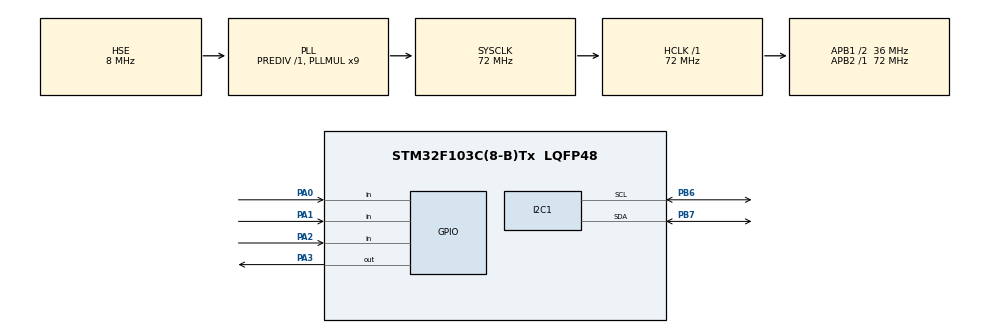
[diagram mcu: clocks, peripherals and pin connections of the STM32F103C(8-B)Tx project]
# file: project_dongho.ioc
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Mcu.Family=STM32F1
Mcu.Name=STM32F103C(8-B)Tx
Mcu.Package=LQFP48
NVIC.PriorityGroup=NVIC_PRIORITYGROUP_4
PA0-WKUP.GPIO_PuPd=GPIO_PULLUP
PA0-WKUP.Signal=GPIO_Input
PA1.GPIO_PuPd=GPIO_PULLUP
PA1.Signal=GPIO_Input
PA13.Mode=Serial_Wire
PA13.Signal=SYS_JTMS-SWDIO
PA14.Mode=Serial_Wire
PA14.Signal=SYS_JTCK-SWCLK
PA2.GPIO_PuPd=GPIO_PULLUP
PA2.Signal=GPIO_Input
PA3.Signal=GPIO_Output
PB6.Mode=I2C
PB6.Signal=I2C1_SCL
PB7.Mode=I2C
PB7.Signal=I2C1_SDA
PD0-OSC_IN.Mode=HSE-External-Oscillator
PD0-OSC_IN.Signal=RCC_OSC_IN
PD1-OSC_OUT.Mode=HSE-External-Oscillator
PD1-OSC_OUT.Signal=RCC_OSC_OUT
ProjectManager.HeapSize=0x200
ProjectManager.StackSize=0x400
ProjectManager.TargetToolchain=STM32CubeIDE
RCC.AHBFreq_Value=72000000
RCC.APB1CLKDivider=RCC_HCLK_DIV2
RCC.APB1Freq_Value=36000000
RCC.APB1TimFreq_Value=72000000
RCC.APB2Freq_Value=72000000
RCC.APB2TimFreq_Value=72000000
RCC.HCLKFreq_Value=72000000
RCC.PLLMUL=RCC_PLL_MUL9
RCC.PLLSourceVirtual=RCC_PLLSOURCE_HSE
RCC.SYSCLKFreq_VALUE=72000000
RCC.SYSCLKSource=RCC_SYSCLKSOURCE_PLLCLK
RCC.USBFreq_Value=72000000
board=custom

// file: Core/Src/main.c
/* USER CODE BEGIN Header */
/**
  ******************************************************************************
  * @file           : main.c
  * @brief          : Main program body
  ******************************************************************************
  * @attention
  *
  * Copyright (c) 2024 STMicroelectronics.
  * All rights reserved.
  *
  * This software is licensed under terms that can be found in the LICENSE file
  * in the root directory of this software component.
  * If no LICENSE file comes with this software, it is provided AS-IS.
  *
  ******************************************************************************
  */
/* USER CODE END Header */
#include "main.h"

/* USER CODE BEGIN Includes */
#include <stdio.h>
#include "RTC.h"
#include "LiquidCrystal_I2C.h"
#include "Btn.h"
/* USER CODE END Includes */

I2C_HandleTypeDef hi2c1;

void SystemClock_Config(void);
static void MX_GPIO_Init(void);
static void MX_I2C1_Init(void);

/* USER CODE BEGIN 0 */
LiquidCrystal_I2C lcd;
RTC_typedef hrtc ;
Button_Typdef btn_up, btn_ok,btn_down;
int8_t hour_alarm;
int8_t min_alarm;

const char arr_day [] [4] = {
		{"SUN"},
		{"MON"},
		{"TUE"},
		{"WED"},
		{"THU"},
		{"FRI"},
		{"SAT"},

};
void clock_time_update()
{
		static uint32_t t_update =0;
		  if(HAL_GetTick() - t_update >= 500)
		  {
		  RTC_ReadTime(&hrtc,&hrtc.datetime);
		  uint8_t day_of_week = RTC_READ_DAY_OF_WEEK(&hrtc.datetime );
		  lcd_set_cursor(&lcd,0,3);
		  lcd_printf(&lcd, "%02d:%02d:%02d",hrtc.datetime.hour,hrtc.datetime.min,hrtc.datetime.sec);
		  lcd_set_cursor(&lcd, 1, 0);
		  lcd_printf(&lcd, "%s %02d/%02d/20%02d",arr_day[day_of_week],hrtc.datetime.date,hrtc.datetime.month,hrtc.datetime.year);
		  t_update = HAL_GetTick();
		  }
}
typedef enum
{
	NORMAL_STATE,
	SETTING_HOUR_STATE,
	SETTING_MIN_STATE,
	SETTING_SEC_STATE,
	SETTING_DATE_STATE,
	SETTING_MONTH_STATE,
	SETTING_YEAR_STATE,
	ALARM_HOUR_STATE,
	ALARM_MIN_STATE

}ClockState;
ClockState clock_state = NORMAL_STATE;
//----------utils----------------
void up_down_number(int8_t *number, int8_t max,int8_t min, int8_t plus)
{
	if(plus)
	{
		(*number)++;
	if( *number > max)
	{
		*number = min;
	}
	}
	else
	{
		(*number)--;
	if(*number < min)
	{
		*number = max;
	}
	}
}

uint8_t check_leap_year(uint16_t year)
{
	if (((year % 4 == 0) && (year % 100!= 0)) || (year%400 == 0))
	{
		return 1;
	}
	    return 0;
}

uint8_t get_max_date(uint8_t month, uint16_t year)
{
	switch(month)
	{
	case 1: case 3 : case 5 : case 7 : case 8 : case 10 : case 12 :
		return 31;
	case 4: case 6 : case 9 : case 11 :
		return 30;
	case 2 :
		if(check_leap_year(year))
		{
			return 29;
		}
	}
	return 28;

}

//----------blink----------------
void setting_blink()
{
	static uint32_t t_blink =0;
	static uint8_t is_show =1;
	char line1[16] ;
	char line2[16] ;
			  if(HAL_GetTick() - t_blink >= 300)
				 {
				  is_show = ! is_show;
					 RTC_ReadTime(&hrtc,&hrtc.datetime);
					 uint8_t day_of_week = RTC_READ_DAY_OF_WEEK(&hrtc.datetime );
 sprintf(line1, "%02d:%02d:%02d",hrtc.datetime.hour,hrtc.datetime.min,hrtc.datetime.sec);
 sprintf(line2, "%s %02d/%02d/20%02d",arr_day[day_of_week],hrtc.datetime.date,hrtc.datetime.month,hrtc.datetime.year);

					 if(is_show)
				  {

					switch(clock_state)
				 {
					 case SETTING_HOUR_STATE:
						line1[0] = line1[1] = ' ';
						 break;
					 case SETTING_MIN_STATE:
						line1[3] = line1[4] = ' ';
						 break;
					 case SETTING_DATE_STATE:
						line2[4] = line2[5] = ' ';
						 break;
					 case SETTING_MONTH_STATE:
						 line2[7] = line2[8] =' ';
						 break;
					 case SETTING_YEAR_STATE:
						 line2[12]= line2[13] = ' ';
						 break;
					 default : break;

				 }

				  }
					  lcd_set_cursor(&lcd,0,3);
					  lcd_printf(&lcd, "%s",line1);
					  lcd_set_cursor(&lcd, 1, 0);
					  lcd_printf(&lcd, "%s ",line2);
					 t_blink = HAL_GetTick();
			  }
}

// ----------ajust_time----------
void ajust_time(uint8_t plus)
{
	switch(clock_state)
				{
				case SETTING_HOUR_STATE:
				{
					up_down_number(&hrtc.datetime.hour,23,0,plus);
					RTC_WriteTime(&hrtc, &hrtc.datetime);
					break;
				}
				case SETTING_MIN_STATE:
				{
					up_down_number(&hrtc.datetime.min,59,0,plus);
					RTC_WriteTime(&hrtc, &hrtc.datetime);
					break;
				}
				case SETTING_DATE_STATE:
				{
					uint8_t max_date = get_max_date(hrtc.datetime.month, hrtc.datetime.year);
					up_down_number(&hrtc.datetime.date,max_date,1,plus);
					RTC_WriteTime(&hrtc, &hrtc.datetime);
					break;
				}
				case SETTING_MONTH_STATE:
				{
					up_down_number(&hrtc.datetime.month,12,1,plus);
					uint8_t max_date = get_max_date(hrtc.datetime.month, hrtc.datetime.year);
					if(hrtc.datetime.date > max_date)
					{
						hrtc.datetime.date = max_date;
					}
					RTC_WriteTime(&hrtc, &hrtc.datetime);
					break;
				}
				case SETTING_YEAR_STATE:
				{
					up_down_number(&hrtc.datetime.year,99,0,plus);
					RTC_WriteTime(&hrtc, &hrtc.datetime);
					break;
				}
				case ALARM_HOUR_STATE:
				{
					up_down_number(&hour_alarm,23,0,plus);
					break;
				}
				case ALARM_MIN_STATE:
				{
					up_down_number(&min_alarm,59,0,plus);
					break;
				}

				default : break;
				}
}

// ---------callback_button---------------------
void btn_pressing_callback(Button_Typdef *ButtonX)
{
	if(ButtonX == &btn_up)
		{
		ajust_time(1);
		}
	else if(ButtonX == &btn_down)
		{
		ajust_time(0);
		}
}
void btn_press_short_callback(Button_Typdef *ButtonX)
{
	if(ButtonX == &btn_ok)
	{
		switch(clock_state)
		{
		case NORMAL_STATE:
			clock_state = SETTING_HOUR_STATE;
			break;
		case SETTING_HOUR_STATE:
			clock_state = SETTING_MIN_STATE;
			break;
		case SETTING_MIN_STATE:
			clock_state = SETTING_DATE_STATE;
			break;
		case SETTING_DATE_STATE:
			clock_state = SETTING_MONTH_STATE;
			break;
		case SETTING_MONTH_STATE:
			clock_state = SETTING_YEAR_STATE;
			break;
		case SETTING_YEAR_STATE:
			clock_state = NORMAL_STATE;
			break;
		case ALARM_HOUR_STATE:
			clock_state = ALARM_MIN_STATE;
			break;
		case ALARM_MIN_STATE:
			clock_state = NORMAL_STATE;
			break;
		default : break;

		}

	}

}
void btn_press_timeout_callback(Button_Typdef *ButtonX) // nhan giu
{
	if(ButtonX == &btn_ok)
		{
			clock_state = ALARM_HOUR_STATE;
			lcd_clear_display(&lcd);
			lcd_set_cursor(&lcd,0,5);
			lcd_printf(&lcd, "ALARM");
		}
}

//------------alarm------------
void check_alarm()
{
	if((hour_alarm == hrtc.datetime.hour) && (min_alarm == hrtc.datetime.min))
	{
				// todo
	}
}

void alarm_screen()
{
	static uint32_t t_blink =0;
	static uint8_t is_show =1;
	char line2[16] ;
	if(HAL_GetTick() - t_blink >= 300)
	 {
		is_show = ! is_show;
	    RTC_ReadTime(&hrtc,&hrtc.datetime);
/*		uint8_t day_of_week = RTC_READ_DAY_OF_WEEK(&hrtc.datetime);*/
   sprintf(line2,"%02d:%02d",hour_alarm,min_alarm);
		if(is_show)
		{
			switch(clock_state)
			{
			case ALARM_HOUR_STATE:
				line2[0] = line2[1] = ' ';
				break;
			case ALARM_MIN_STATE:
				line2[3] = line2[4] = ' ';
				break;
			default : break;
			}
		 }
			lcd_set_cursor(&lcd,0,5);
			lcd_printf(&lcd, "ALARM");
			lcd_set_cursor(&lcd, 1, 5);
			lcd_printf(&lcd, "%s ",line2);
			t_blink = HAL_GetTick();
	 }
}

// ---------------handle_clock------------
void clock_handle()
{
	switch(clock_state)
				{
	case NORMAL_STATE:

		clock_time_update();
		check_alarm();
		 break;
	case SETTING_HOUR_STATE:
	case SETTING_MIN_STATE:
	case SETTING_DATE_STATE:
	case SETTING_MONTH_STATE:
	case SETTING_YEAR_STATE:
		setting_blink();
		break;
	case ALARM_HOUR_STATE:
	case ALARM_MIN_STATE:
		alarm_screen();
		break;
	default : break;
				}
}
/* USER CODE END 0 */

int main(void)
{

  /* MCU Configuration--------------------------------------------------------*/

  /* Reset of all peripherals, Initializes the Flash interface and the Systick. */
  HAL_Init();

  /* Configure the system clock */
  SystemClock_Config();

  /* USER CODE BEGIN SysInit */
  lcd_init(&lcd, &hi2c1, LCD_ADDR_DEFAULT);
  RTC_Init(&hrtc ,&hi2c1);
  button_init(&btn_ok, GPIOA, GPIO_PIN_1);
  button_init(&btn_down, GPIOA, GPIO_PIN_0);
  button_init(&btn_up, GPIOA, GPIO_PIN_2);
  /* USER CODE END SysInit */

  /* Initialize all configured peripherals */
  MX_GPIO_Init();
  MX_I2C1_Init();
  /* USER CODE BEGIN 2 */
/*  hrtc.datetime.hour = 11;
  hrtc.datetime.min = 41;
  hrtc.datetime.sec = 00;
  hrtc.datetime.day = 2;
  hrtc.datetime.date = 19;
  hrtc.datetime.month = 2;
  hrtc.datetime.year = 24;
  RTC_WriteTime(&hrtc,&hrtc.datetime);*/

  /* USER CODE END 2 */

  /* Infinite loop */
  while (1)
  {

    /* USER CODE BEGIN 3 */

	  button_handle(&btn_up);
	  button_handle(&btn_ok);
	  button_handle(&btn_down);
	  clock_handle();
  }
  /* USER CODE END 3 */
}

void SystemClock_Config(void)
{
  RCC_OscInitTypeDef RCC_OscInitStruct = {0};
  RCC_ClkInitTypeDef RCC_ClkInitStruct = {0};

  /** Initializes the RCC Oscillators according to the specified parameters
  * in the RCC_OscInitTypeDef structure.
  */
  RCC_OscInitStruct.OscillatorType = RCC_OSCILLATORTYPE_HSE;
  RCC_OscInitStruct.HSEState = RCC_HSE_ON;
  RCC_OscInitStruct.HSEPredivValue = RCC_HSE_PREDIV_DIV1;
  RCC_OscInitStruct.HSIState = RCC_HSI_ON;
  RCC_OscInitStruct.PLL.PLLState = RCC_PLL_ON;
  RCC_OscInitStruct.PLL.PLLSource = RCC_PLLSOURCE_HSE;
  RCC_OscInitStruct.PLL.PLLMUL = RCC_PLL_MUL9;
  if (HAL_RCC_OscConfig(&RCC_OscInitStruct) != HAL_OK)
  {
    Error_Handler();
  }

  /** Initializes the CPU, AHB and APB buses clocks
  */
  RCC_ClkInitStruct.ClockType = RCC_CLOCKTYPE_HCLK|RCC_CLOCKTYPE_SYSCLK
                              |RCC_CLOCKTYPE_PCLK1|RCC_CLOCKTYPE_PCLK2;
  RCC_ClkInitStruct.SYSCLKSource = RCC_SYSCLKSOURCE_PLLCLK;
  RCC_ClkInitStruct.AHBCLKDivider = RCC_SYSCLK_DIV1;
  RCC_ClkInitStruct.APB1CLKDivider = RCC_HCLK_DIV2;
  RCC_ClkInitStruct.APB2CLKDivider = RCC_HCLK_DIV1;

  if (HAL_RCC_ClockConfig(&RCC_ClkInitStruct, FLASH_LATENCY_2) != HAL_OK)
  {
    Error_Handler();
  }
}

static void MX_I2C1_Init(void)
{

  hi2c1.Instance = I2C1;
  hi2c1.Init.ClockSpeed = 100000;
  hi2c1.Init.DutyCycle = I2C_DUTYCYCLE_2;
  hi2c1.Init.OwnAddress1 = 0;
  hi2c1.Init.AddressingMode = I2C_ADDRESSINGMODE_7BIT;
  hi2c1.Init.DualAddressMode = I2C_DUALADDRESS_DISABLE;
  hi2c1.Init.OwnAddress2 = 0;
  hi2c1.Init.GeneralCallMode = I2C_GENERALCALL_DISABLE;
  hi2c1.Init.NoStretchMode = I2C_NOSTRETCH_DISABLE;
  if (HAL_I2C_Init(&hi2c1) != HAL_OK)
  {
    Error_Handler();
  }

}

static void MX_GPIO_Init(void)
{
  GPIO_InitTypeDef GPIO_InitStruct = {0};

  /* GPIO Ports Clock Enable */
  __HAL_RCC_GPIOD_CLK_ENABLE();
  __HAL_RCC_GPIOA_CLK_ENABLE();
  __HAL_RCC_GPIOB_CLK_ENABLE();

  /*Configure GPIO pin Output Level */
  HAL_GPIO_WritePin(GPIOA, GPIO_PIN_3, GPIO_PIN_RESET);

  /*Configure GPIO pins : PA0 PA1 PA2 */
  GPIO_InitStruct.Pin = GPIO_PIN_0|GPIO_PIN_1|GPIO_PIN_2;
  GPIO_InitStruct.Mode = GPIO_MODE_INPUT;
  GPIO_InitStruct.Pull = GPIO_PULLUP;
  HAL_GPIO_Init(GPIOA, &GPIO_InitStruct);

  /*Configure GPIO pin : PA3 */
  GPIO_InitStruct.Pin = GPIO_PIN_3;
  GPIO_InitStruct.Mode = GPIO_MODE_OUTPUT_PP;
  GPIO_InitStruct.Pull = GPIO_NOPULL;
  GPIO_InitStruct.Speed = GPIO_SPEED_FREQ_LOW;
  HAL_GPIO_Init(GPIOA, &GPIO_InitStruct);

}

void Error_Handler(void)
{
  __disable_irq();
  while (1)
  {
  }
}
